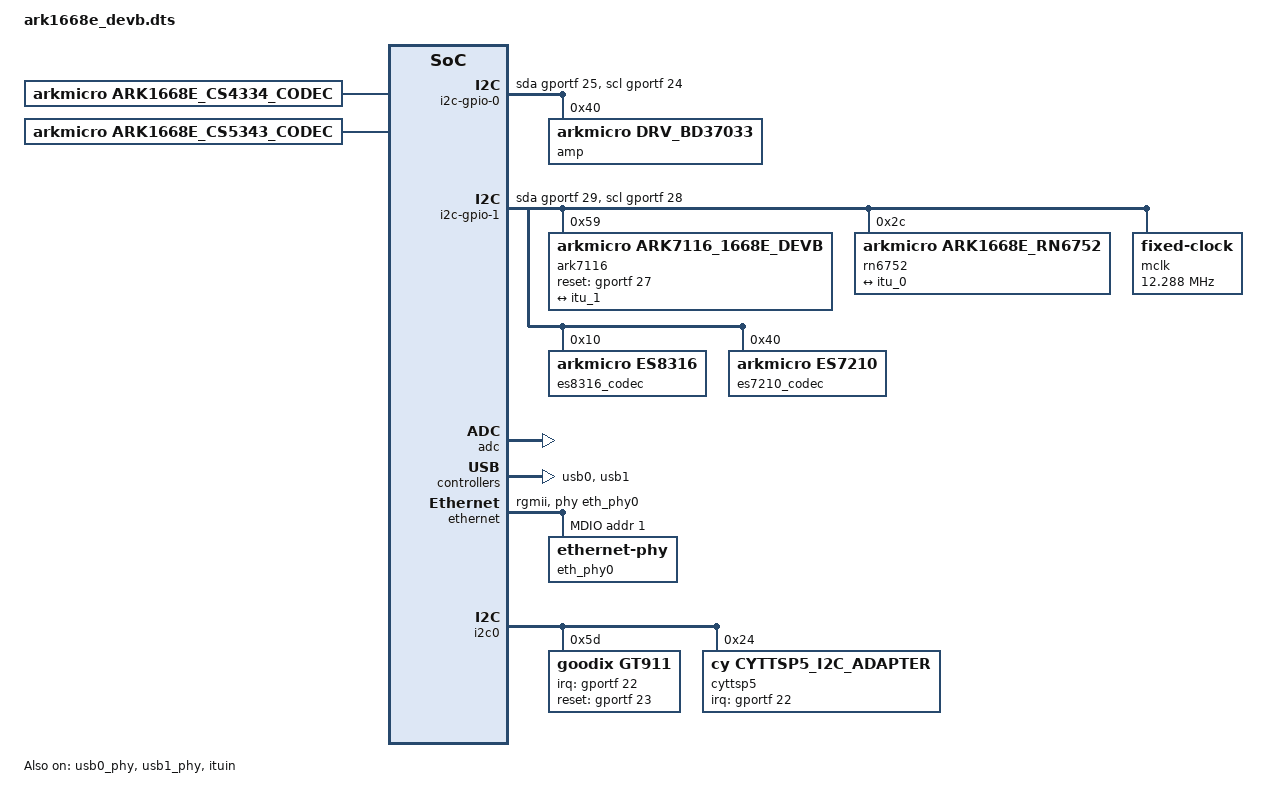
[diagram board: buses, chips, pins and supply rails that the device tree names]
// SPDX-License-Identifier: GPL-2.0
/dts-v1/;
#include "ark1668e.dtsi"
#include "ark1668e-pinctrl.dtsi"

//#define I2S_USE_EXTERNAL_CODEC
//#define ARK1668E_I2S_FULL_DUPLEX_MODE

/ {
	i2c-gpio-0 {
		#address-cells = <1>;
		#size-cells = <0>;
		compatible = "i2c-gpio";
		gpios = <&gportf 25 0		/* SDA */
			&gportf 24 0		/* SCL */
		>;
		i2c-gpio,delay-us = <6>;	/* clk freq = 500/delay KHz */
		i2c-gpio,scl-output-only;

		amp:drv_bd37033@40{
				status = "okay";
				compatible = "arkmicro,drv_bd37033";
				reg = <0x40>;		/* i2c address(7 bit)*/
				flout-gain = <65>;	/*min = 0 ;max = 95*/
				frout-gain = <65>;	/*min = 0 ;max = 95*/
				rlout-gain = <65>;	/*min = 0 ;max = 95*/
				rrout-gain = <65>;	/*min = 0 ;max = 95*/
				#sound-dai-cells = <0>;
		};
	};

	i2c-gpio-1 {
		#address-cells = <1>;
		#size-cells = <0>;
		compatible = "i2c-gpio";
		gpios = <&gportf 29 0		/* SDA */
			&gportf 28 0		/* SCL */
		>;
		i2c-gpio,delay-us = <6>;	/* clk freq = 500/delay KHz */
		i2c-gpio,scl-output-only;

		ark7116: ark7116@B2 {
			compatible = "arkmicro,ark7116_1668e_devb";
			reset-gpio = <&gportf 27 0>;
			reg = <0x59>; /* i2c address(7 bits) */
			default-channel = <0>;
            carback-config = <1>;
			port {
				ark7116_0: endpoint@0{
					remote-endpoint = <&itu_1>;
				};
			};
		};
	
		rn6752: da380@4e {
            compatible = "arkmicro,ark1668e_rn6752";
            //reset-gpio = <&gpio3 11 0>;
            reg = <0x2c>; /* i2c address(7 bits) */
            default-channel = <0>;  /* 0:channel A; 1:channel B */
            camera-format = <3>;    /* 0:unknown; 1:cvbs pal; 2:cvbs ntsc; 3:720p pal; 4:720p ntsc */
			port {
                rn6752_0: endpoint@0{
                    remote-endpoint = <&itu_0>;
                };
        	};
		};


		mclk: mclk@12K {
			#clock-cells = <0>;
			compatible = "fixed-clock";
			clock-frequency = <12288000>;
		};

		es8316_codec: es8316@10 {
			compatible = "arkmicro,es8316";
			reg = <0x10>;
			clocks = <&mclk>;
			clock-names = "mclk";
			#sound-dai-cells = <0>;
		};

		es7210_codec: es7210@40 {
			compatible = "arkmicro,es7210";
			reg = <0x40>;/* i2c address(7 bits) */
			clocks = <&mclk>;
			clock-names = "mclk";
			pinctrl-names = "default";
			#sound-dai-cells = <0>;
		};
	};

	cs4334_codec: ark1668e_cs4334_codec {
		status = "okay";
		compatible = "arkmicro,ark1668e_cs4334_codec";
		clock-names = "cs4334_mclk";
		clocks = <&mclk>;
		#sound-dai-cells = <0>;
	};

	cs5343_codec: ark1668e_cs5343_codec {
		status = "okay";
		compatible = "arkmicro,ark1668e_cs5343_codec";
		clock-names = "cs5343_mclk";
		clocks = <&mclk>;
		#sound-dai-cells = <0>;
	};

	sound {
		compatible = "simple-audio-card";
		simple-audio-card,name = "ark1668e devb audio";
		simple-audio-card,widgets =
			"Microphone", "Mic Jack",
			"Line", "Line In",
			"Headphone", "Headphone Jack";
		simple-audio-card,routing =
			"Headphone Jack", "HPOL",
			"Headphone Jack", "HPOR",
			"MIC1", "Mic Jack",
			"MIC2", "Mic Jack";

#ifdef I2S_USE_EXTERNAL_CODEC
		//simple-audio-card,aux-devs = <&amp>;

		simple-audio-card,format = "i2s";
		simple-audio-card,cpu {
			sound-dai = <&i2s_dac>;
		};
		simple-audio-card,codec {
			sound-dai = <&es8316_codec>;//External(DAC):escodec ,cs4334_codec ;
		};
#else
		simple-audio-card,dai-link@0 {		/* I2S - adc */
			format = "i2s";
			bitclock-master = <&capture_cpu>;
			frame-master = <&capture_cpu>;
			capture_cpu: cpu {
				sound-dai = <&i2s_adc>;
			};
			capture_codec: codec {
				sound-dai = <&sdadc>;//External(ADC):es8316_codec , cs5343_codec  ; Internal(ADC):sdadc
			};
		};

		simple-audio-card,dai-link@1 {		/* I2S - dac */
			format = "i2s";
			bitclock-master = <&playback_cpu>;
			frame-master = <&playback_cpu>;
			playback_cpu: cpu {
				sound-dai = <&i2s_dac>;
			};
			playback_codec: codec {
				sound-dai = <&sddac>;//External(DAC):es8316_codec ,cs4334_codec ; Internal(DAC):sddac
			};
		};
#endif
	};

	carback: carback@0 {
		compatible = "arkmicro,ark1668e-carback";
		interrupt-parent = <&gportd>;
		interrupts = <1 IRQ_TYPE_EDGE_BOTH>;
		detect-gpios = <&gportd 1 GPIO_ACTIVE_HIGH>;
		debounce-detect = <0>;
		reg = <0x5ea00000 0x400000>;
	};

	adc {
        compatible = "arkmicro,ark1668e-adc";
        reg = <0xe4500000 0x1000
            0xe4900000 0x1000>;
		interrupts = <GIC_SPI 4 IRQ_TYPE_LEVEL_HIGH>;
    };

};

&lcdc {
	display = <&display0>;
	pinctrl-names = "default";
	/* set pad only to prevent gpio use */
	pinctrl-0 = <&pinctrl_lcd_dlvds>;

	display0: display@0 {
		interface-type = "DLVDS";
		lvds-con = <0x4545>;
		lvds-con2 = <0xfa200141>;
		bits-per-pixel = <32>;
		power-control-gpio = <&gportd 0 GPIO_ACTIVE_HIGH>;
		lcd-wiring-mode = "RGB";
		lcdcon-backlight;
		pwms = <&pwm0 0 50000>;
		pwm-names = "backlight";
		backlight-value = <30>;
		backlight-delay = <200>;

		display-timings {
			native-mode = <&timing0>;
			timing0: timing0 {
				clock-frequency = <120000000>;
				hactive = <1920>;
				vactive = <720>;
				hback-porch = <300>;
				hfront-porch = <240>;
				vback-porch = <80>;
				vfront-porch = <80>;
				hsync-len = <36>;
				vsync-len = <18>;
				hsync-active = <1>;
				vsync-active = <1>;
				de-active = <0>;
				pixelclk-active = <0>;
			};
		};
	};
};

&usb0_phy {
	compatible = "usb-nop-xceiv";
	#phy-cells = <0>;
	status = "okay";
};

&usb0 {
	status = "okay";
};

&usb1_phy {
	compatible = "usb-nop-xceiv";
	#phy-cells = <0>;
	status = "okay";
};

&usb1 {
	status = "okay";
};

&uart3 {
    use-in-kernel;
    use-for-mcu;
};

&ituin {
	status = "okay";
	channel = <1>;             //for no pinctr
	x_pos = <0>;
	y_pos = <0>;
	//width = <800>;          //if this line is commented out, it is displayed in full screen
	height = <720>;

	port {
		itu_0: endpoint@0 {
			is-itu601;
			vsync-active = <1>;
			hsync-active = <1>;
			remote-endpoint = <&rn6752_0>;
            channel = <0>;
		};

		itu_1: endpoint@1 {
			remote-endpoint = <&ark7116_0>;
			channel = <1>;
		};
	};
};

&i2s_adc {
	pinctrl-0 = <&pinctrl_i2sadc_sync &pinctrl_i2sadc_sadata
					&pinctrl_i2sadc_mclk &pinctrl_i2sadc_bclk>;
	pinctrl-names = "default";
};

#ifndef ARK1668E_I2S_FULL_DUPLEX_MODE
&i2s_dac {
	pinctrl-0 = <&pinctrl_i2sdac_sync &pinctrl_i2sdac_sadata_out
					&pinctrl_i2sdac_mclk &pinctrl_i2sdac_bclk>;
	pinctrl-names = "default";
};

#else
&i2s_dac {
	pinctrl-0 = <&pinctrl_i2sdac_sync &pinctrl_i2sdac_sadata_out
					&pinctrl_i2sdac_mclk &pinctrl_i2sdac_bclk &pinctrl_i2sdac_sadata>;
	pinctrl-names = "default";
};
#endif

&ethernet {
	status = "okay";
	phy-handle = <&eth_phy0>;
	phy-mode = "rgmii";

	//snps,reset-gpio = <&gportd 15 GPIO_ACTIVE_LOW>;
	//snps,reset-active-low;
	//snps,reset-delays-us = <0 10000 1000000>;

	mdio {
		compatible = "snps,dwmac-mdio";
		#address-cells = <1>;
		#size-cells = <0>;

		eth_phy0: ethernet-phy@0 {
			/* Realtek RTL8211F (0x001cc916) */
			reg = <1>;
		};
	};
};

&i2c0 {
	gt911: touchscreen@5d {
		compatible = "goodix,gt911";
		reg = <0x5d>;
		interrupt-parent = <&gportf>;
		interrupts = <22 IRQ_TYPE_EDGE_FALLING>;
		irq-gpios = <&gportf 22 GPIO_ACTIVE_HIGH>;
		reset-gpios = <&gportf 23 GPIO_ACTIVE_HIGH>;
		//touchscreen-inverted-x;
	};
	cyttsp5: touchscreen@24 {
		compatible = "cy,cyttsp5_i2c_adapter";
		reg = <0x24>;

		/* GPIO 38, high-to-low edge triggered */
		interrupt-parent = <&gportf>;
		interrupts = <22 IRQ_TYPE_EDGE_FALLING>;
		cy,adapter_id = "cyttsp5_i2c_adapter";

		cy,core {
			cy,name = "cyttsp5_core";
			cy,max_tch = <1>;
			cy,irq_gpio = <182>;
			cy,rst_gpio = <183>;
			cy,hid_desc_register = <1>;
			/*CY_CORE_FLAG_RESTORE_PARAMETERS */
			cy,flags = <4>;
			/* CY_CORE_EWG_NONE */
			cy,easy_wakeup_gesture = <0>;
			cy,btn_keys = <172 /* KEY_HOMEPAGE */
					   /* previously was KEY_HOME, new Android versions use KEY_HOMEPAGE */
				       139 /* KEY_MENU */
				       158 /* KEY_BACK */
				       217 /* KEY_SEARCH */
				       114 /* KEY_VOLUMEDOWN */
				       115 /* KEY_VOLUMEUP */
				       212 /* KEY_CAMERA */
				       116>; /* KEY_POWER */
			cy,btn_keys-tag = <0>;

			cy,mt {
				cy,name = "cyttsp5_mt";

				cy,inp_dev_name = "cyttsp5_mt";
				/* CY_MT_FLAG_FLIP | CY_MT_FLAG_INV_X | CY_MT_FLAG_INV_Y */
				cy,flags = <0x0>;//<0x38>;
				cy,abs =
					/* ABS_MT_POSITION_X, CY_ABS_MIN_X, CY_ABS_MAX_X, 0, 0 */
					<0x35 0 1920 0 0
					/* ABS_MT_POSITION_Y, CY_ABS_MIN_Y, CY_ABS_MAX_Y, 0, 0 */
					0x36 0 720 0 0
					/* ABS_MT_PRESSURE, CY_ABS_MIN_P, CY_ABS_MAX_P, 0, 0 */
					0x3a 0 255 0 0
					/* CY_IGNORE_VALUE, CY_ABS_MIN_W, CY_ABS_MAX_W, 0, 0 */
					0xffff 0 255 0 0
					/* ABS_MT_TRACKING_ID, CY_ABS_MIN_T, CY_ABS_MAX_T, 0, 0 */
					0x39 0 15 0 0
					/* ABS_MT_TOUCH_MAJOR, 0, 255, 0, 0 */
					0x30 0 255 0 0
					/* ABS_MT_TOUCH_MINOR, 0, 255, 0, 0 */
					0x31 0 255 0 0
					/* ABS_MT_ORIENTATION, -127, 127, 0, 0 */
					0x34 0xffffff81 127 0 0
					/* ABS_MT_TOOL_TYPE, 0, MT_TOOL_MAX, 0, 0 */
					0x37 0 1 0 0
					/* ABS_MT_DISTANCE, 0, 255, 0, 0 */
					0x3b 0 255 0 0>;

				cy,vkeys_x = <1920>;
				cy,vkeys_y = <720>;

				cy,virtual_keys = /* KeyCode CenterX CenterY Width Height */
					/* KEY_BACK */
					<158 1360 90 160 180
					/* KEY_MENU */
					139 1360 270 160 180
					/* KEY_HOMEPAGE */
					172 1360 450 160 180
					/* KEY SEARCH */
					217 1360 630 160 180>;
			};

			cy,btn {
				cy,name = "cyttsp5_btn";

				cy,inp_dev_name = "cyttsp5_btn";
			};

			cy,proximity {
				cy,name = "cyttsp5_proximity";

				cy,inp_dev_name = "cyttsp5_proximity";
				cy,abs =
					/* ABS_DISTANCE, CY_PROXIMITY_MIN_VAL, CY_PROXIMITY_MAX_VAL, 0, 0 */
					<0x19 0 1 0 0>;
			};
		};
	};
};

&can0{
	status = "disabled";
};

&can1{
	status = "disabled";
};

&sdadc {
	external-i2s;
};
